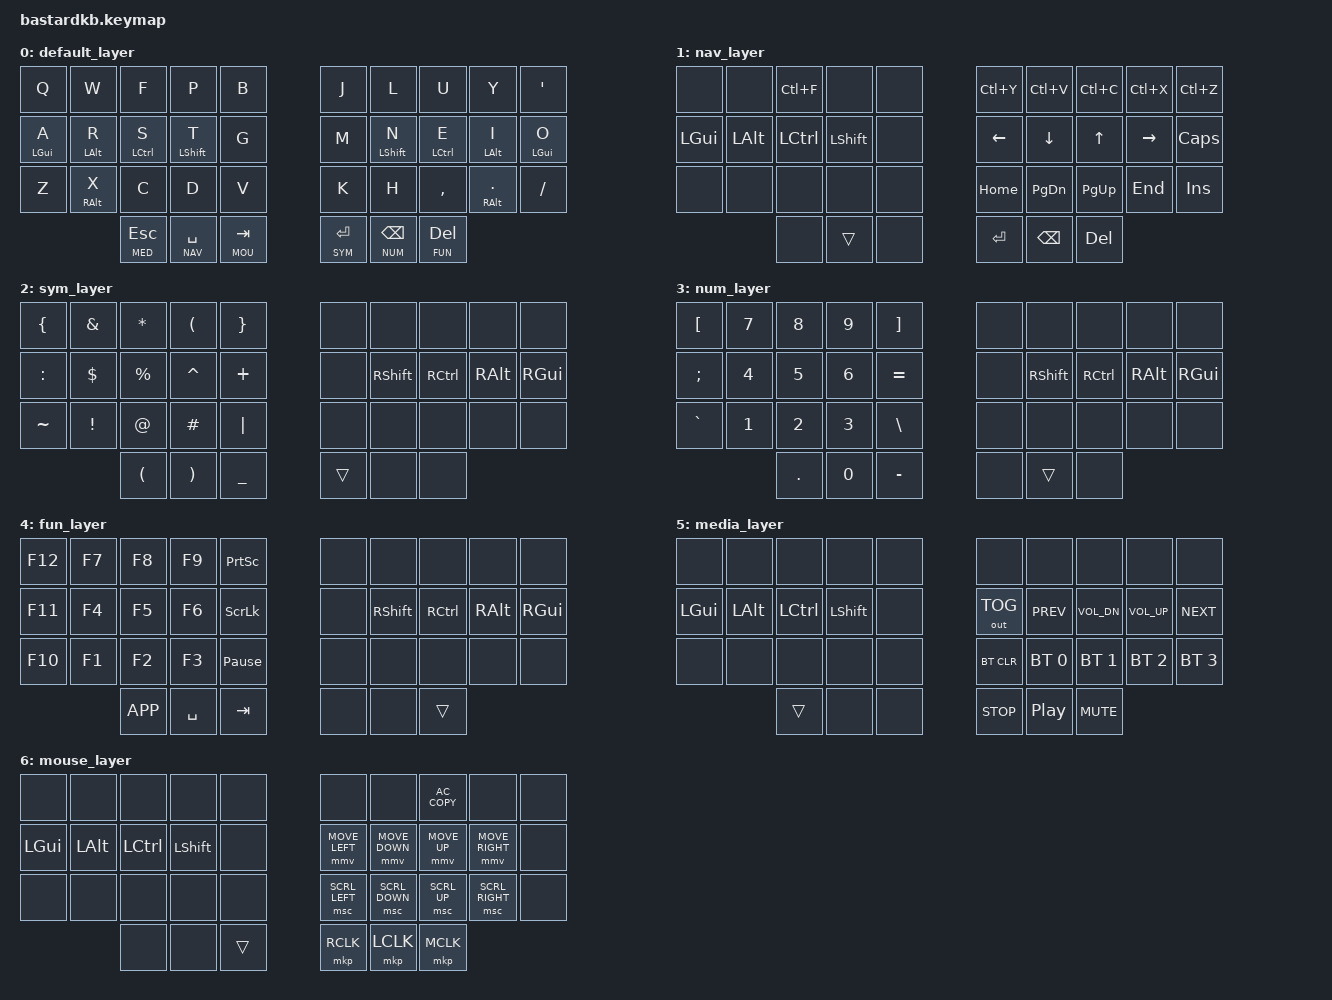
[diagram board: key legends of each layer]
#include <behaviors.dtsi>
#include <dt-bindings/zmk/keys.h>
#include <dt-bindings/zmk/bt.h>
#include <dt-bindings/zmk/outputs.h>
#include <dt-bindings/zmk/pointing.h>

// The default keymap is roughly on Miryoku layout
// (https://github.com/manna-harbour/miryoku).
// Customize on your own on the config folder.

#define BASE    0
#define NAV     1
#define SYM     2
#define NUM     3
#define FUN     4
#define MED     5
#define MOU     6

/ {
    behaviors {
        hm: homerow_mods {
            compatible = "zmk,behavior-hold-tap";
            label = "HOMEROW_MODS";
            #binding-cells = <2>;
            tapping-term-ms = <150>;
            quick-tap-ms = <0>;
            flavor = "tap-preferred";
            bindings = <&kp>, <&kp>;
        };
    };

    keymap {
        compatible = "zmk,keymap";

        default_layer {
            bindings = <
    &kp Q       &kp W       &kp F       &kp P       &kp B                                   &kp J           &kp L       &kp U       &kp Y           &kp SQT
    &hm LGUI A  &hm LALT R  &hm LCTRL S &hm LSHFT T &kp G                                   &kp M           &hm LSHFT N &hm LCTRL E &hm LALT I      &hm LGUI O
    &kp Z       &hm RALT X  &kp C       &kp D       &kp V                                   &kp K           &kp H       &kp COMMA   &hm RALT DOT    &kp FSLH
                                        &lt MED ESC &lt NAV SPACE   &lt MOU TAB     &lt SYM RET &lt NUM BSPC    &lt FUN DEL
            >;
        };

        nav_layer {
            bindings = <
    &none       &none       &kp LC(F)   &none       &none                           &kp LC(Y)   &kp LC(V)   &kp LC(C)   &kp LC(X)   &kp LC(Z)
    &kp LGUI    &kp LALT    &kp LCTRL   &kp LSHFT   &none                           &kp LEFT    &kp DOWN    &kp UP    &kp RIGHT      &kp CAPS
    &none       &none       &none       &none       &none                           &kp HOME     &kp PG_DN    &kp PG_UP   &kp END   &kp INS
                                        &none       &trans  &none       &kp RET     &kp BSPC    &kp DEL     
            >;
        };

        sym_layer {
            bindings = <
    &kp LBRC    &kp AMPS    &kp STAR    &kp LPAR   &kp RBRC                     &none       &none       &none       &none       &none
    &kp COLON   &kp DLLR    &kp PRCNT   &kp CARET  &kp PLUS                     &none       &kp RSHFT   &kp RCTRL   &kp RALT    &kp RGUI
    &kp TILDE   &kp EXCL    &kp AT      &kp HASH   &kp PIPE                     &none       &none       &none       &none       &none
                                        &kp LPAR   &kp RPAR &kp UNDER   &trans  &none       &none
            >;
        };

        num_layer {
            bindings = <
    &kp LBKT    &kp N7  &kp N8  &kp N9  &kp RBKT                        &none   &none       &none       &none       &none
    &kp SEMI     &kp N4  &kp N5  &kp N6  &kp EQUAL                       &none   &kp RSHFT   &kp RCTRL   &kp RALT    &kp RGUI
    &kp GRAVE   &kp N1  &kp N2  &kp N3  &kp BSLH                        &none   &none       &none       &none       &none
                                &kp DOT &kp N0      &kp MINUS   &none   &trans  &none
            >;
        };

        fun_layer {
            bindings = <
    &kp F12 &kp F7  &kp F8  &kp F9      &kp PSCRN                           &none   &none       &none       &none       &none
    &kp F11 &kp F4  &kp F5  &kp F6      &kp SLCK                            &none   &kp RSHFT   &kp RCTRL   &kp RALT    &kp RGUI
    &kp F10 &kp F1  &kp F2  &kp F3      &kp PAUSE_BREAK                     &none   &none       &none       &none       &none
                            &kp K_APP   &kp SPACE       &kp TAB     &none   &none   &trans
            >;
        };

        media_layer {
            bindings = <
    &none       &none       &none       &none       &none                           &none       &none         &none         &none           &none
    &kp LGUI    &kp LALT    &kp LCTRL   &kp LSHFT   &none                           &out OUT_TOG &kp C_PREV    &kp C_VOL_DN  &kp C_VOL_UP    &kp C_NEXT
    &none       &none       &none       &none       &none                           &bt BT_CLR &bt BT_SEL 0  &bt BT_SEL 1  &bt BT_SEL 2    &bt BT_SEL 3     
                                        &trans      &none   &none       &kp C_STOP  &kp C_PP    &kp C_MUTE     
            >;
        };
        mouse_layer {
            bindings = <
    &none       &none       &none       &none       &none                           &none       &none         &kp C_AC_COPY         &none           &none
    &kp LGUI    &kp LALT    &kp LCTRL   &kp LSHFT   &none                           &mmv MOVE_LEFT &mmv MOVE_DOWN    &mmv MOVE_UP  &mmv MOVE_RIGHT    &none
    &none       &none       &none       &none       &none                           &msc SCRL_LEFT &msc SCRL_DOWN    &msc SCRL_UP  &msc SCRL_RIGHT    &none     
                                       &none      &none   &trans       &mkp RCLK  &mkp LCLK    &mkp MCLK     
    >;
};
    };
};

/ {
    combos {
        compatible = "zmk,combos";
        combo_esc {
            timeout-ms = <50>;
            key-positions = <32 33>;
            bindings = <&kp F13>;
        };
    };
};
